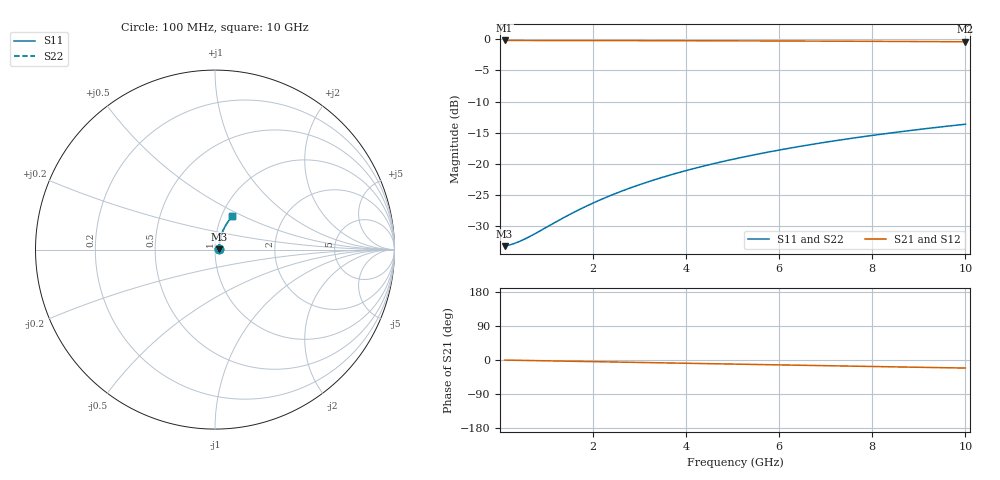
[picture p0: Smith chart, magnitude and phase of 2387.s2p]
# Hz S RI R 50.00
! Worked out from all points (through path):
!   100 points, 100 MHz to 10 GHz, reference 50 ohm
!   highest |S21| = -0.19 dB at 100 MHz (marker M1); lowest = -0.4 dB at 10 GHz (marker M2)
!   group delay of S21, straight-line fit = 5.92 ps
!   lowest |S11| = -33.2 dB at 100 MHz (marker M3), VSWR 1.04, Z = 52.2 + j0.217 ohm
!   |S11| at or under -10 dB: start of sweep to end of sweep
!   |S22| runs from -33.2 to -13.6 dB; largest |S21 - S12| = 0
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1e8  0.0219 0.00207  0.9781 -0.00369  0.9781 -0.00369  0.0219 0.00207
2e8  0.0221 0.00415  0.9779 -0.00738  0.9779 -0.00738  0.0221 0.00415
3e8  0.0222 0.00622  0.9778 -0.0111  0.9778 -0.0111  0.0222 0.00622
4e8  0.0223 0.00829  0.9776 -0.0147  0.9776 -0.0147  0.0223 0.00829
5e8  0.0225 0.0104  0.9775 -0.0184  0.9775 -0.0184  0.0225 0.0104
7e8  0.0228 0.0145  0.9771 -0.0258  0.9771 -0.0258  0.0228 0.0145
1.4e9  0.0242 0.0289  0.9755 -0.0515  0.9755 -0.0515  0.0242 0.0289
1.8e9  0.0253 0.0371  0.9742 -0.0662  0.9742 -0.0662  0.0253 0.0371
2.2e9  0.0267 0.0453  0.9726 -0.0808  0.9726 -0.0808  0.0267 0.0453
2.6e9  0.0283 0.0534  0.9708 -0.0954  0.9708 -0.0954  0.0283 0.0534
3e9  0.0301 0.0614  0.9687 -0.1099  0.9687 -0.1099  0.0301 0.0614
3.4e9  0.0321 0.0694  0.9663 -0.1243  0.9663 -0.1243  0.0321 0.0694
3.8e9  0.0344 0.0773  0.9636 -0.1387  0.9636 -0.1387  0.0344 0.0773
4.2e9  0.0369 0.0851  0.9607 -0.1529  0.9607 -0.1529  0.0369 0.0851
4.6e9  0.0397 0.0928  0.9575 -0.1671  0.9575 -0.1671  0.0397 0.0928
5.1e9  0.0434 0.1023  0.9531 -0.1848  0.9531 -0.1848  0.0434 0.1023
5.9e9  0.0501 0.1172  0.9452 -0.2126  0.9452 -0.2126  0.0501 0.1172
6.7e9  0.0576 0.1316  0.9363 -0.2399  0.9363 -0.2399  0.0576 0.1316
7.5e9  0.066 0.1455  0.9265 -0.2668  0.9265 -0.2668  0.066 0.1455
8.4e9  0.0763 0.1603  0.9143 -0.2963  0.9143 -0.2963  0.0763 0.1603
9.2e9  0.0861 0.1729  0.9025 -0.3218  0.9025 -0.3218  0.0861 0.1729
1e10  0.0967 0.1848  0.8899 -0.3467  0.8899 -0.3467  0.0967 0.1848
